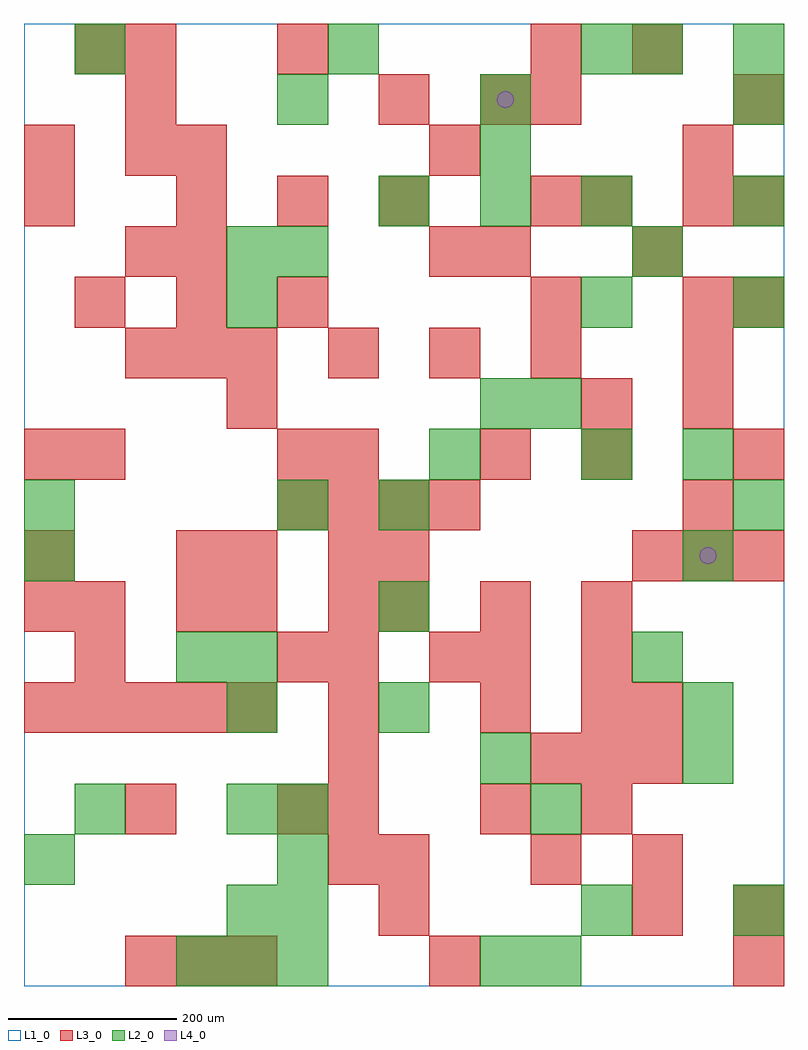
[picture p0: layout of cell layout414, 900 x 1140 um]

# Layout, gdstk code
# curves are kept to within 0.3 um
import gdstk
lib = gdstk.Library(unit=1e-6, precision=1e-09)
def R(c, l, rs):  # rectangles x0, y0, x1, y1
    for r in rs: c.add(gdstk.rectangle(r[:2], r[2:], *l))
def A(c, l, x, y, w, h, nx, ny, dx, dy):  # array of equal rectangles
    R(c, l, [(x+i*dx, y+j*dy, x+i*dx+w, y+j*dy+h) for i in range(nx) for j in range(ny)])
def P(c, l, *ps):  # polygons
    for p in ps: c.add(gdstk.Polygon(p, *l))
L1_0 = (1, 0)
L2_0 = (2, 0)
L3_0 = (3, 0)
L4_0 = (4, 0)

layout414 = lib.new_cell('layout414')
R(layout414, L1_0, [(0,0,900,1140)])
A(layout414, L2_0, 180, 0, 60, 60, 3, 1, 60, 0)
A(layout414, L2_0, 240, 60, 60, 60, 1, 3, 0, 120)
A(layout414, L2_0, 300, 60, 60, 60, 1, 3, 0, 60)
A(layout414, L2_0, 420, 300, 60, 60, 1, 3, 0, 120)
A(layout414, L2_0, 840, 780, 60, 60, 1, 3, 0, 120)
A(layout414, L2_0, 420, 900, 60, 60, 3, 1, 120, 0)
A(layout414, L2_0, 60, 1080, 60, 60, 3, 1, 300, 0)
R(layout414, L2_0, [(540,0,600,60), (600,0,660,60), (660,60,720,120), (840,60,900,120), (0,120,60,180), (60,180,120,240), (600,180,660,240), (540,240,600,300), (780,240,840,300), (780,300,840,360), (180,360,240,420), (240,360,300,420), (720,360,780,420), (0,480,60,540), (780,480,840,540), (0,540,60,600), (300,540,360,600), (840,540,900,600), (480,600,540,660), (660,600,720,660), (780,600,840,660), (540,660,600,720), (600,660,660,720), (240,780,300,840), (660,780,720,840), (240,840,300,900), (300,840,360,900), (720,840,780,900), (540,960,600,1020), (300,1020,360,1080), (540,1020,600,1080), (720,1080,780,1140), (840,1080,900,1140)])
A(layout414, L3_0, 120, 0, 60, 60, 3, 2, 60, 720)
A(layout414, L3_0, 360, 120, 60, 60, 1, 7, 0, 60)
A(layout414, L3_0, 600, 240, 60, 60, 3, 1, 60, 0)
A(layout414, L3_0, 0, 300, 60, 60, 5, 1, 60, 0)
A(layout414, L3_0, 540, 360, 60, 60, 1, 3, 0, 240)
A(layout414, L3_0, 420, 420, 60, 60, 3, 1, 120, 0)
A(layout414, L3_0, 720, 480, 60, 60, 3, 1, 60, 0)
A(layout414, L3_0, 300, 540, 60, 60, 4, 1, 60, 0)
A(layout414, L3_0, 780, 660, 60, 60, 1, 3, 0, 60)
A(layout414, L3_0, 360, 720, 60, 60, 3, 1, 120, 0)
A(layout414, L3_0, 60, 780, 60, 60, 3, 1, 120, 0)
A(layout414, L3_0, 600, 780, 60, 60, 1, 3, 0, 120)
A(layout414, L3_0, 840, 780, 60, 60, 1, 3, 0, 120)
A(layout414, L3_0, 180, 900, 60, 60, 3, 1, 120, 0)
A(layout414, L3_0, 120, 960, 60, 60, 1, 3, 0, 60)
A(layout414, L3_0, 180, 960, 60, 60, 3, 1, 300, 0)
R(layout414, L3_0, [(480,0,540,60), (840,0,900,60), (420,60,480,120), (720,60,780,120), (840,60,900,120), (420,120,480,180), (600,120,660,180), (720,120,780,180), (120,180,180,240), (300,180,360,240), (540,180,600,240), (660,180,720,240), (540,300,600,360), (660,300,720,360), (720,300,780,360), (60,360,120,420), (300,360,360,420), (480,360,540,420), (660,360,720,420), (0,420,60,480), (60,420,120,480), (180,420,240,480), (240,420,300,480), (0,480,60,540), (180,480,240,540), (240,480,300,540), (420,480,480,540), (780,540,840,600), (0,600,60,660), (60,600,120,660), (300,600,360,660), (360,600,420,660), (660,600,720,660), (840,600,900,660), (240,660,300,720), (660,660,720,720), (120,840,180,900), (180,840,240,900), (480,840,540,900), (720,840,780,900), (0,900,60,960), (660,900,720,960), (780,900,840,960), (0,960,60,1020), (420,1020,480,1080), (540,1020,600,1080), (60,1080,120,1140), (300,1080,360,1140), (600,1080,660,1140), (720,1080,780,1140)])
P(layout414, L4_0, [(580,1050),(579.239,1053.827),(577.071,1057.071),(573.827,1059.239),(570,1060),(566.173,1059.239),(562.929,1057.071),(560.761,1053.827),(560,1050),(560.761,1046.173),(562.929,1042.929),(566.173,1040.761),(570,1040),(573.827,1040.761),(577.071,1042.929),(579.239,1046.173)],
  [(820,510),(819.239,513.827),(817.071,517.071),(813.827,519.239),(810,520),(806.173,519.239),(802.929,517.071),(800.761,513.827),(800,510),(800.761,506.173),(802.929,502.929),(806.173,500.761),(810,500),(813.827,500.761),(817.071,502.929),(819.239,506.173)])

lib.write_gds('layout414.gds')
